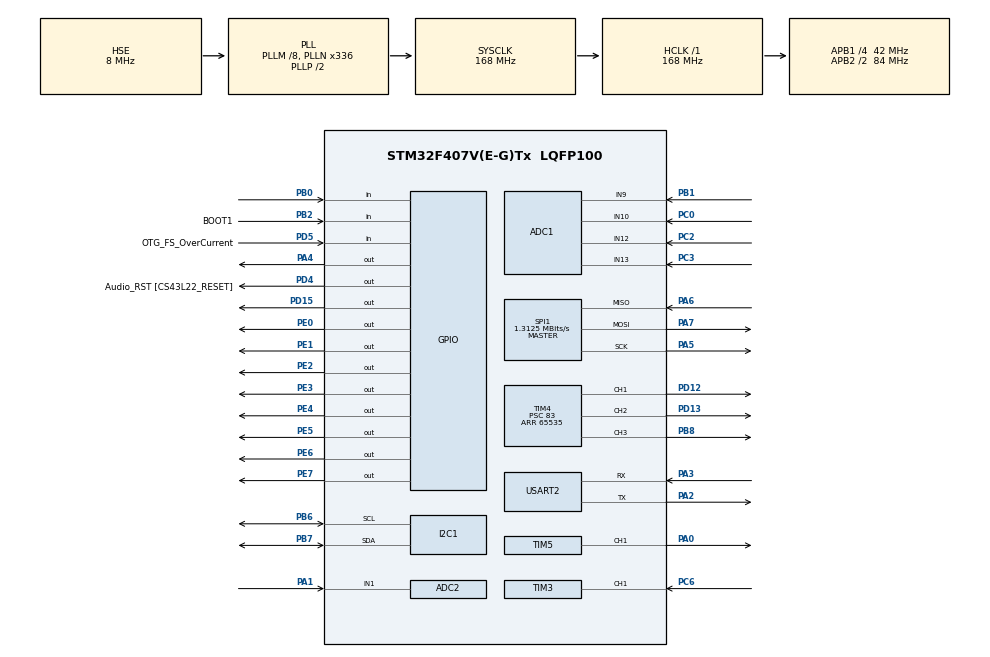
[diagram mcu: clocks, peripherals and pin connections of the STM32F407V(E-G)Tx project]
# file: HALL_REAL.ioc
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ADC1.Channel-1\#ChannelRegularConversion=ADC_CHANNEL_10
ADC1.Channel-2\#ChannelRegularConversion=ADC_CHANNEL_12
ADC1.Channel-3\#ChannelRegularConversion=ADC_CHANNEL_13
ADC1.Channel-4\#ChannelRegularConversion=ADC_CHANNEL_9
ADC1.ContinuousConvMode=ENABLE
ADC1.DMAContinuousRequests=ENABLE
ADC1.NbrOfConversion=4
ADC1.NbrOfConversionFlag=1
ADC1.Rank-1\#ChannelRegularConversion=1
ADC1.Rank-2\#ChannelRegularConversion=2
ADC1.Rank-3\#ChannelRegularConversion=3
ADC1.Rank-4\#ChannelRegularConversion=4
ADC1.SamplingTime-1\#ChannelRegularConversion=ADC_SAMPLETIME_84CYCLES
ADC1.SamplingTime-2\#ChannelRegularConversion=ADC_SAMPLETIME_84CYCLES
ADC1.SamplingTime-3\#ChannelRegularConversion=ADC_SAMPLETIME_84CYCLES
ADC1.SamplingTime-4\#ChannelRegularConversion=ADC_SAMPLETIME_84CYCLES
ADC1.ScanConvMode=ENABLE
ADC1.master=1
ADC2.Channel-1\#ChannelRegularConversion=ADC_CHANNEL_1
ADC2.NbrOfConversionFlag=1
ADC2.Rank-1\#ChannelRegularConversion=1
ADC2.SamplingTime-1\#ChannelRegularConversion=ADC_SAMPLETIME_3CYCLES
Dma.ADC1.0.Direction=DMA_PERIPH_TO_MEMORY
Dma.ADC1.0.FIFOMode=DMA_FIFOMODE_DISABLE
Dma.ADC1.0.Instance=DMA2_Stream0
Dma.ADC1.0.MemDataAlignment=DMA_MDATAALIGN_HALFWORD
Dma.ADC1.0.MemInc=DMA_MINC_ENABLE
Dma.ADC1.0.Mode=DMA_CIRCULAR
Dma.ADC1.0.PeriphDataAlignment=DMA_PDATAALIGN_HALFWORD
Dma.ADC1.0.PeriphInc=DMA_PINC_DISABLE
Dma.ADC1.0.Priority=DMA_PRIORITY_LOW
Dma.Request0=ADC1
I2C1.I2C_Mode=I2C_Fast
Mcu.Family=STM32F4
Mcu.Name=STM32F407V(E-G)Tx
Mcu.Package=LQFP100
NVIC.DMA2_Stream0_IRQn=true\:0\:0\:false\:false\:true\:false\:true\:true
NVIC.PriorityGroup=NVIC_PRIORITYGROUP_0
NVIC.TIM3_IRQn=true\:0\:0\:false\:false\:true\:true\:true\:true
NVIC.TIM7_IRQn=true\:0\:0\:false\:true\:true\:2\:true\:true\:true
NVIC.USART2_IRQn=true\:0\:0\:false\:false\:true\:true\:true\:true
PA0-WKUP.Signal=S_TIM5_CH1
PA1.Signal=ADCx_IN1
PA10.GPIO_Label=OTG_FS_ID
PA10.GPIO_Mode=GPIO_MODE_AF_PP
PA10.GPIO_PuPd=GPIO_NOPULL
PA10.GPIO_Speed=GPIO_SPEED_FREQ_LOW
PA10.Signal=USB_OTG_FS_ID
PA11.GPIO_Label=OTG_FS_DM
PA11.GPIO_Mode=GPIO_MODE_AF_PP
PA11.GPIO_PuPd=GPIO_NOPULL
PA11.GPIO_Speed=GPIO_SPEED_FREQ_LOW
PA11.Signal=USB_OTG_FS_DM
PA12.GPIO_Label=OTG_FS_DP
PA12.GPIO_Mode=GPIO_MODE_AF_PP
PA12.GPIO_PuPd=GPIO_NOPULL
PA12.GPIO_Speed=GPIO_SPEED_FREQ_LOW
PA12.Signal=USB_OTG_FS_DP
PA13.GPIO_Label=SWDIO
PA13.Mode=Serial_Wire
PA13.Signal=SYS_JTMS-SWDIO
PA14.GPIO_Label=SWCLK
PA14.Mode=Serial_Wire
PA14.Signal=SYS_JTCK-SWCLK
PA2.Mode=Asynchronous
PA2.Signal=USART2_TX
PA3.Mode=Asynchronous
PA3.Signal=USART2_RX
PA4.Signal=GPIO_Output
PA5.Mode=Full_Duplex_Master
PA5.Signal=SPI1_SCK
PA6.Mode=Full_Duplex_Master
PA6.Signal=SPI1_MISO
PA7.Mode=Full_Duplex_Master
PA7.Signal=SPI1_MOSI
PA9.GPIO_Label=VBUS_FS
PA9.GPIO_Mode=GPIO_MODE_INPUT
PA9.GPIO_PuPd=GPIO_NOPULL
PA9.Signal=USB_OTG_FS_VBUS
PB0.Signal=GPIO_Input
PB1.Signal=ADCx_IN9
PB10.GPIO_Label=CLK_IN [MP45DT02_CLK]
PB10.GPIO_Mode=GPIO_MODE_AF_PP
PB10.GPIO_PuPd=GPIO_NOPULL
PB10.GPIO_Speed=GPIO_SPEED_FREQ_LOW
PB10.Signal=I2S2_CK
PB2.GPIO_Label=BOOT1
PB2.GPIO_Mode=GPIO_MODE_INPUT
PB2.GPIO_PuPd=GPIO_NOPULL
PB2.Signal=GPIO_Input
PB3.GPIO_Label=SWO
PB3.Signal=SYS_JTDO-SWO
PB6.Mode=I2C
PB6.Signal=I2C1_SCL
PB7.Mode=I2C
PB7.Signal=I2C1_SDA
PB8.Signal=S_TIM4_CH3
PC0.Signal=ADCx_IN10
PC10.GPIO_Label=I2S3_SCK [CS43L22_SCLK]
PC10.GPIO_Mode=GPIO_MODE_AF_PP
PC10.GPIO_PuPd=GPIO_NOPULL
PC10.GPIO_Speed=GPIO_SPEED_FREQ_LOW
PC10.Signal=I2S3_CK
PC12.GPIO_Label=I2S3_SD [CS43L22_SDIN]
PC12.GPIO_Mode=GPIO_MODE_AF_PP
PC12.GPIO_PuPd=GPIO_NOPULL
PC12.GPIO_Speed=GPIO_SPEED_FREQ_LOW
PC12.Signal=I2S3_SD
PC14-OSC32_IN.GPIO_Label=PC14-OSC32_IN
PC14-OSC32_IN.Mode=LSE-External-Oscillator
PC14-OSC32_IN.Signal=RCC_OSC32_IN
PC15-OSC32_OUT.GPIO_Label=PC15-OSC32_OUT
PC15-OSC32_OUT.Mode=LSE-External-Oscillator
PC15-OSC32_OUT.Signal=RCC_OSC32_OUT
PC2.Signal=ADCx_IN12
PC3.Signal=ADCx_IN13
PC6.Signal=S_TIM3_CH1
PC7.GPIO_Label=I2S3_MCK [CS43L22_MCLK]
PC7.GPIO_Mode=GPIO_MODE_AF_PP
PC7.GPIO_PuPd=GPIO_NOPULL
PC7.GPIO_Speed=GPIO_SPEED_FREQ_LOW
PC7.Signal=I2S3_MCK
PD12.Signal=S_TIM4_CH1
PD13.Signal=S_TIM4_CH2
PD15.Signal=GPIO_Output
PD4.GPIO_Label=Audio_RST [CS43L22_RESET]
PD4.GPIO_PuPd=GPIO_NOPULL
PD4.GPIO_Speed=GPIO_SPEED_FREQ_LOW
PD4.Signal=GPIO_Output
PD5.GPIO_Label=OTG_FS_OverCurrent
PD5.GPIO_Mode=GPIO_MODE_INPUT
PD5.GPIO_PuPd=GPIO_NOPULL
PD5.Signal=GPIO_Input
PE0.Signal=GPIO_Output
PE1.Signal=GPIO_Output
PE2.Signal=GPIO_Output
PE3.Signal=GPIO_Output
PE4.Signal=GPIO_Output
PE5.Signal=GPIO_Output
PE6.Signal=GPIO_Output
PE7.Signal=GPIO_Output
PH0-OSC_IN.GPIO_Label=PH0-OSC_IN
PH0-OSC_IN.Mode=HSE-External-Oscillator
PH0-OSC_IN.Signal=RCC_OSC_IN
PH1-OSC_OUT.GPIO_Label=PH1-OSC_OUT
PH1-OSC_OUT.Mode=HSE-External-Oscillator
PH1-OSC_OUT.Signal=RCC_OSC_OUT
ProjectManager.HeapSize=0x200
ProjectManager.StackSize=0x400
ProjectManager.TargetToolchain=STM32CubeIDE
RCC.48MHZClocksFreq_Value=48000000
RCC.AHBFreq_Value=168000000
RCC.APB1CLKDivider=RCC_HCLK_DIV4
RCC.APB1Freq_Value=42000000
RCC.APB1TimFreq_Value=84000000
RCC.APB2CLKDivider=RCC_HCLK_DIV2
RCC.APB2Freq_Value=84000000
RCC.APB2TimFreq_Value=168000000
RCC.CortexFreq_Value=168000000
RCC.HCLKFreq_Value=168000000
RCC.HSE_VALUE=8000000
RCC.HSI_VALUE=16000000
RCC.PLLM=8
RCC.PLLN=336
RCC.PLLQ=7
RCC.PLLSourceVirtual=RCC_PLLSOURCE_HSE
RCC.SYSCLKFreq_VALUE=168000000
RCC.SYSCLKSource=RCC_SYSCLKSOURCE_PLLCLK
RCC.VCOOutputFreq_Value=336000000
SH.ADCx_IN1.0=ADC2_IN1,IN1
SH.ADCx_IN10.0=ADC1_IN10,IN10
SH.ADCx_IN12.0=ADC1_IN12,IN12
SH.ADCx_IN13.0=ADC1_IN13,IN13
SH.ADCx_IN9.0=ADC1_IN9,IN9
SH.S_TIM3_CH1.0=TIM3_CH1,Input_Capture1_from_TI1
SH.S_TIM4_CH1.0=TIM4_CH1,PWM Generation1 CH1
SH.S_TIM4_CH2.0=TIM4_CH2,PWM Generation2 CH2
SH.S_TIM4_CH3.0=TIM4_CH3,PWM Generation3 CH3
SH.S_TIM5_CH1.0=TIM5_CH1,PWM Generation1 CH1
SPI1.BaudRatePrescaler=SPI_BAUDRATEPRESCALER_64
SPI1.CLKPhase=SPI_PHASE_1EDGE
SPI1.CLKPolarity=SPI_POLARITY_LOW
SPI1.CalculateBaudRate=1.3125 MBits/s
SPI1.Direction=SPI_DIRECTION_2LINES
SPI1.Mode=SPI_MODE_MASTER
SPI1.VirtualType=VM_MASTER
TIM10.Channel=TIM_CHANNEL_1
TIM10.Period=10000-1
TIM10.Prescaler=335
TIM10.Pulse=100
TIM2.Period=1000-1
TIM2.Prescaler=167
TIM3.Channel-Input_Capture1_from_TI1=TIM_CHANNEL_1
TIM3.Prescaler=83
TIM4.Channel-PWM\ Generation1\ CH1=TIM_CHANNEL_1
TIM4.Channel-PWM\ Generation2\ CH2=TIM_CHANNEL_2
TIM4.Channel-PWM\ Generation3\ CH3=TIM_CHANNEL_3
TIM4.Period=65535
TIM4.Prescaler=83
TIM4.Pulse-PWM\ Generation1\ CH1=21000-1
TIM4.Pulse-PWM\ Generation2\ CH2=10500-1
TIM4.Pulse-PWM\ Generation3\ CH3=5250-1
TIM5.Channel-PWM\ Generation1\ CH1=TIM_CHANNEL_1
TIM5.Channel-PWM\ Generation4\ CH4=TIM_CHANNEL_4
TIM5.Period=10000-1
TIM5.Prescaler=84-1
TIM5.Pulse-PWM\ Generation1\ CH1=5000
TIM7.Period=99
TIM7.Prescaler=8399
USART2.VirtualMode=VM_ASYNC
VP_TIM10_VS_ClockSourceINT.Mode=Enable_Timer
VP_TIM2_VS_ClockSourceINT.Mode=Internal
VP_TIM3_VS_ClockSourceINT.Mode=Internal
VP_TIM4_VS_ClockSourceINT.Mode=Internal
VP_TIM5_VS_ClockSourceINT.Mode=Internal
VP_TIM7_VS_ClockSourceINT.Mode=Enable_Timer
board=STM32F407G-DISC1

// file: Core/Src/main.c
/* USER CODE BEGIN Header */
/**
  ******************************************************************************
  * @file           : main.c
  * @brief          : VS10xx (VS1003/VS1053) bring-up + MP3 playback from flash
  ******************************************************************************
  */
/* USER CODE END Header */

#include "main.h"
#include "adc.h"
#include "dma.h"
#include "i2c.h"
#include "spi.h"
#include "tim.h"
#include "usart.h"
#include "gpio.h"

/* USER CODE BEGIN Includes */
#include <string.h>
#include <stdio.h>
#include <stdarg.h>
#include "MP3Sample.h"    // provides: sampleMp3[], sampleMp3_len
/* USER CODE END Includes */

/* USER CODE BEGIN PD */
/* -------- VS10xx pin map (match CubeMX setup) -------- */
#define VS_XCS_PORT   GPIOA
#define VS_XCS_PIN    GPIO_PIN_4   // SCI CS
#define VS_XDCS_PORT  GPIOE
#define VS_XDCS_PIN   GPIO_PIN_3   // SDI CS
#define VS_RST_PORT   GPIOE
#define VS_RST_PIN    GPIO_PIN_2   // Reset
#define VS_DREQ_PORT  GPIOB
#define VS_DREQ_PIN   GPIO_PIN_0   // Data request (input)

/* SCI register addresses */
#define SCI_MODE      0x00
#define SCI_STATUS    0x01
#define SCI_CLOCKF    0x03
#define SCI_VOL       0x0B

/* SCI opcodes */
#define SCI_WRITE_OP  0x02
#define SCI_READ_OP   0x03

/* ---- VS10xx SCI MODE bits ---- */
#define SM_DIFF            (1<<0)
#define SM_LAYER12         (1<<1)
#define SM_RESET           (1<<2)
#define SM_CANCEL          (1<<3)
#define SM_EARSPEAKER_LO   (1<<4)
#define SM_TESTS           (1<<5)
#define SM_STREAM          (1<<6)
#define SM_EARSPEAKER_HI   (1<<7)
#define SM_DACT            (1<<8)
#define SM_SDIORD          (1<<9)
#define SM_SDISHARE        (1<<10)
#define SM_SDINEW          (1<<11)   // MUST be 1 on VS10xx
#define SM_ADPCM           (1<<12)
#define SM_LINE1           (1<<14)
/* USER CODE END PD */

/* USER CODE BEGIN PM */
#define VS_XCS_L()        HAL_GPIO_WritePin(VS_XCS_PORT,  VS_XCS_PIN,  GPIO_PIN_RESET)
#define VS_XCS_H()        HAL_GPIO_WritePin(VS_XCS_PORT,  VS_XCS_PIN,  GPIO_PIN_SET)
#define VS_XDCS_L()       HAL_GPIO_WritePin(VS_XDCS_PORT, VS_XDCS_PIN, GPIO_PIN_RESET)
#define VS_XDCS_H()       HAL_GPIO_WritePin(VS_XDCS_PORT, VS_XDCS_PIN, GPIO_PIN_SET)
#define VS_RST_L()        HAL_GPIO_WritePin(VS_RST_PORT,  VS_RST_PIN,  GPIO_PIN_RESET)
#define VS_RST_H()        HAL_GPIO_WritePin(VS_RST_PORT,  VS_RST_PIN,  GPIO_PIN_SET)
#define VS_DREQ_IS_H()   (HAL_GPIO_ReadPin(VS_DREQ_PORT, VS_DREQ_PIN) == GPIO_PIN_SET)
/* USER CODE END PM */

/* USER CODE BEGIN PV */
extern SPI_HandleTypeDef hspi1;
extern UART_HandleTypeDef huart2;
/* USER CODE END PV */

void SystemClock_Config(void);
static void MX_NVIC_Init(void);
/* USER CODE BEGIN PFP */
static void uprintln(const char *fmt, ...);
static HAL_StatusTypeDef VS_SCI_Write(uint8_t reg, uint16_t val);
static HAL_StatusTypeDef VS_SCI_Read(uint8_t reg, uint16_t *out);
static void VS_HardReset(void);
static void VS_SDI_SendChunk(const uint8_t *p, uint16_t n);
static void VS_SendMusic(const uint8_t *buf, uint32_t len);
static void VS_SendZeros(uint16_t n);
/* USER CODE END PFP */

/* USER CODE BEGIN 0 */
static void uprintln(const char *fmt, ...)
{
    char buf[160];
    va_list ap;
    va_start(ap, fmt);
    int n = vsnprintf(buf, sizeof(buf), fmt, ap);
    va_end(ap);
    if (n < 0) return;
    HAL_UART_Transmit(&huart2, (uint8_t*)buf, (uint16_t)strlen(buf), HAL_MAX_DELAY);
    const char crlf[2] = {'\r','\n'};
    HAL_UART_Transmit(&huart2, (uint8_t*)crlf, 2, HAL_MAX_DELAY);
}

static HAL_StatusTypeDef VS_SCI_Write(uint8_t reg, uint16_t val)
{
    uint8_t tx[4] = {SCI_WRITE_OP, reg, (uint8_t)(val >> 8), (uint8_t)val};
    while (!VS_DREQ_IS_H());
    VS_XCS_L();
    HAL_StatusTypeDef s = HAL_SPI_Transmit(&hspi1, tx, sizeof(tx), HAL_MAX_DELAY);
    VS_XCS_H();
    return s;
}

static HAL_StatusTypeDef VS_SCI_Read(uint8_t reg, uint16_t *out)
{
    uint8_t tx[2] = {SCI_READ_OP, reg};
    uint8_t rx[2] = {0};
    while (!VS_DREQ_IS_H());
    VS_XCS_L();
    HAL_StatusTypeDef s = HAL_SPI_Transmit(&hspi1, tx, 2, HAL_MAX_DELAY);
    s |= HAL_SPI_Receive(&hspi1, rx, 2, HAL_MAX_DELAY);
    VS_XCS_H();
    *out = ((uint16_t)rx[0] << 8) | rx[1];
    return s;
}

static void VS_HardReset(void)
{
    VS_XCS_H();
    VS_XDCS_H();
    VS_RST_L();
    HAL_Delay(5);
    VS_RST_H();
    uint32_t t0 = HAL_GetTick();
    while (!VS_DREQ_IS_H()) {
        if (HAL_GetTick() - t0 > 300) {
            uprintln("ERR: DREQ timeout");
            break;
        }
    }
}

/* send ≤32 bytes when DREQ is high */
static void VS_SDI_SendChunk(const uint8_t *p, uint16_t n)
{
    while (n) {
        while (!VS_DREQ_IS_H()); // ready for another burst
        uint16_t chunk = (n > 32) ? 32 : n;
        VS_XDCS_L();
        HAL_SPI_Transmit(&hspi1, (uint8_t*)p, chunk, HAL_MAX_DELAY);
        VS_XDCS_H();
        p += chunk;
        n -= chunk;
    }
}

/* stream whole buffer */
static void VS_SendMusic(const uint8_t *buf, uint32_t len)
{
    uint32_t i = 0;
    while (i < len) {
        uint16_t chunk = (len - i > 512) ? 512 : (uint16_t)(len - i); // coarse slice
        VS_SDI_SendChunk(&buf[i], chunk);
        i += chunk;
    }
}

/* a small end-fill to flush decoder (no SM_CANCEL here) */
static void VS_SendZeros(uint16_t n)
{
    uint8_t z[32] = {0};
    while (n) {
        uint16_t c = (n > sizeof(z)) ? sizeof(z) : n;
        VS_SDI_SendChunk(z, c);
        n -= c;
    }
}
/* USER CODE END 0 */

int main(void)
{

  HAL_Init();
  SystemClock_Config();

  /* Initialize all configured peripherals */
  MX_GPIO_Init();
  MX_DMA_Init();
  MX_TIM7_Init();
  MX_TIM4_Init();
  MX_TIM10_Init();
  MX_TIM2_Init();
  MX_TIM5_Init();
  MX_ADC1_Init();
  MX_TIM3_Init();
  MX_I2C1_Init();
  MX_USART2_UART_Init();
  MX_ADC2_Init();
  MX_SPI1_Init();

  /* Initialize interrupts */
  MX_NVIC_Init();

  /* USER CODE BEGIN 2 */
  uprintln("NEWEST VS10xx bring-up starting...");

  VS_HardReset();

  /* REQUIRED: enable SDI NEW mode early (per VLSI) */
  VS_SCI_Write(SCI_MODE, SM_SDINEW);
  HAL_Delay(2);

  uint16_t mode=0, status=0, clockf=0;
  if (VS_SCI_Read(SCI_MODE, &mode)    != HAL_OK) uprintln("SCI_MODE read HAL error");
  if (VS_SCI_Read(SCI_STATUS, &status)!= HAL_OK) uprintln("SCI_STATUS read HAL error");
  if (VS_SCI_Read(SCI_CLOCKF, &clockf)!= HAL_OK) uprintln("SCI_CLOCKF read HAL error");

  uprintln("SCI_MODE = 0x%04X", mode);
  uprintln("SCI_STATUS= 0x%04X", status);
  uprintln("SCI_CLOCKF= 0x%04X", clockf);

  if ((mode==0x0000 || mode==0xFFFF) || (status==0x0000 || status==0xFFFF)) {
      uprintln("=> Likely wiring/SPI mode/CS/reset issue (saw 0x0000/0xFFFF).");
  } else {
      uprintln("=> SCI reads look sane.");
  }

  /* bump internal clock (then you may raise SPI baud later) & set volume */
  uprintln("Setting CLOCKF and VOL...");
  VS_SCI_Write(SCI_CLOCKF, 0x8800);  // common safe value after reset
  VS_SCI_Write(SCI_VOL,     0x2020); // attenuation; smaller = louder
  HAL_Delay(50);

  /* Play embedded MP3 */
  uprintln("Sending MP3Sample data (%u bytes)...", sampleMp3_len);
  VS_SendMusic(sampleMp3, sampleMp3_len);

  /* Small end-fill so DAC stops cleanly */
  VS_SendZeros(2052);
  uprintln("Playback complete.");
  /* USER CODE END 2 */

  /* Infinite loop */
  /* USER CODE BEGIN WHILE */
  while (1) {
    HAL_Delay(1000);
  }
  /* USER CODE END WHILE */

}

void SystemClock_Config(void)
{
  /* Keep YOUR CubeMX-generated version here as before. (This copy matches what you posted and avoids duplicate defs elsewhere.) */
  RCC_OscInitTypeDef RCC_OscInitStruct = {0};
  RCC_ClkInitTypeDef RCC_ClkInitStruct = {0};
  __HAL_RCC_PWR_CLK_ENABLE();
  __HAL_PWR_VOLTAGESCALING_CONFIG(PWR_REGULATOR_VOLTAGE_SCALE1);
  RCC_OscInitStruct.OscillatorType = RCC_OSCILLATORTYPE_HSE;
  RCC_OscInitStruct.HSEState = RCC_HSE_ON;
  RCC_OscInitStruct.PLL.PLLState = RCC_PLL_ON;
  RCC_OscInitStruct.PLL.PLLSource = RCC_PLLSOURCE_HSE;
  RCC_OscInitStruct.PLL.PLLM = 8;
  RCC_OscInitStruct.PLL.PLLN = 336;
  RCC_OscInitStruct.PLL.PLLP = RCC_PLLP_DIV2;
  RCC_OscInitStruct.PLL.PLLQ = 7;
  if (HAL_RCC_OscConfig(&RCC_OscInitStruct) != HAL_OK) {
    Error_Handler();
  }
  RCC_ClkInitStruct.ClockType = RCC_CLOCKTYPE_HCLK|RCC_CLOCKTYPE_SYSCLK
                              | RCC_CLOCKTYPE_PCLK1|RCC_CLOCKTYPE_PCLK2;
  RCC_ClkInitStruct.SYSCLKSource = RCC_SYSCLKSOURCE_PLLCLK;
  RCC_ClkInitStruct.AHBCLKDivider = RCC_SYSCLK_DIV1;
  RCC_ClkInitStruct.APB1CLKDivider = RCC_HCLK_DIV4;
  RCC_ClkInitStruct.APB2CLKDivider = RCC_HCLK_DIV2;
  if (HAL_RCC_ClockConfig(&RCC_ClkInitStruct, FLASH_LATENCY_5) != HAL_OK) {
    Error_Handler();
  }
}

/**
  * @brief NVIC Configuration.
  * @retval None
  */
static void MX_NVIC_Init(void)
{
  /* TIM7_IRQn interrupt configuration (left from your template; unused here) */
  HAL_NVIC_SetPriority(TIM7_IRQn, 0, 0);
  HAL_NVIC_EnableIRQ(TIM7_IRQn);
}

void Error_Handler(void)
{
  __disable_irq();
  while (1) { }
}
